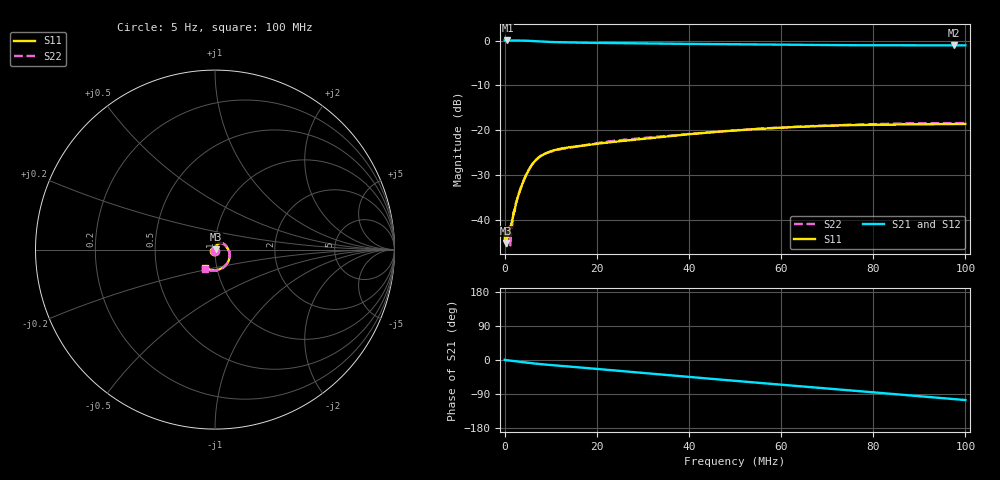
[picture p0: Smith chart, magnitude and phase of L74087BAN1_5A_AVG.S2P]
!Agilent Technologies,E5061B,MY49102235,A.02.00
!Date: Tue Jul 11 14:37:29 2023
!Data & Calibration Information:
!Freq	S11:SOLT2(ON)	S21:SOLT2(ON)	S12:SOLT2(ON)	S22:SOLT2(ON)
# Hz S RI R 50
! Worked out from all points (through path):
!   1600 points, 5 Hz to 100 MHz, reference 50 ohm
!   highest |S21| = 0.02 dB at 625.4 kHz (marker M1); lowest = -1.1 dB at 97.5 MHz (marker M2)
!   group delay of S21, straight-line fit = 2.87 ns
!   lowest |S11| = -45.2 dB at 250.2 kHz (marker M3), VSWR 1.01, Z = 50.5 + j0.152 ohm
!   |S11| at or under -10 dB: start of sweep to end of sweep
!   |S22| runs from -45.9 to -18.4 dB; largest |S21 - S12| = 0.0028
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5  -0.00522 -0.00564  1.002 0.00788  1 0.0103  -0.00144 -0.00755
250161.3  0.00529 0.00151  1.001 -0.00502  1.001 -0.00469  0.00729 -0.000359
625395.8  0.0052 0.00362  1.002 -0.015  1.002 -0.0143  0.00624 0.00321
938091.3  0.0047 0.00599  1.001 -0.0216  1.001 -0.0211  0.00625 0.00538
1313326  0.00505 0.00675  1.001 -0.0306  1.001 -0.0307  0.00323 0.00518
1688560  0.00465 0.00885  1 -0.0411  1.001 -0.0409  0.00434 0.00802
2063795  0.00427 0.0118  1.001 -0.0507  0.9997 -0.0506  0.00467 0.0116
2376490  0.0048 0.0136  0.9986 -0.0581  0.9988 -0.0581  0.00543 0.0139
3439655  0.00785 0.0207  0.9955 -0.0851  0.9954 -0.0849  0.00672 0.0211
4878054  0.0141 0.03  0.9874 -0.1218  0.9869 -0.1214  0.0137 0.0305
6316452  0.0246 0.0362  0.9739 -0.1551  0.9734 -0.1549  0.024 0.0364
7942469  0.0367 0.0365  0.9572 -0.1865  0.9568 -0.1862  0.0365 0.037
9881180  0.0478 0.0325  0.9397 -0.219  0.9392 -0.2185  0.0471 0.0326
1.23202e7  0.0566 0.0259  0.9204 -0.2571  0.9201 -0.2564  0.0559 0.0259
1.669794e7  0.0652 0.0149  0.8887 -0.3245  0.8884 -0.324  0.0651 0.0148
2.345216e7  0.0737 0.000877  0.8346 -0.4276  0.8344 -0.427  0.0757 -0.000293
3.333334e7  0.0804 -0.0217  0.7335 -0.5648  0.7334 -0.5642  0.0814 -0.0228
5.003127e7  0.0744 -0.0658  0.5202 -0.7423  0.5202 -0.7418  0.0741 -0.0667
6.672921e7  0.0397 -0.1029  0.2765 -0.848  0.2769 -0.8476  0.0403 -0.1036
8.33646e7  -0.00741 -0.1152  0.02 -0.8848  0.0202 -0.8847  -0.00738 -0.1174
9.749844e7  -0.0474 -0.1071  -0.2004 -0.8603  -0.2001 -0.8602  -0.0478 -0.11
1e8  -0.0538 -0.1043  -0.2389 -0.8506  -0.2385 -0.8505  -0.0542 -0.1069
